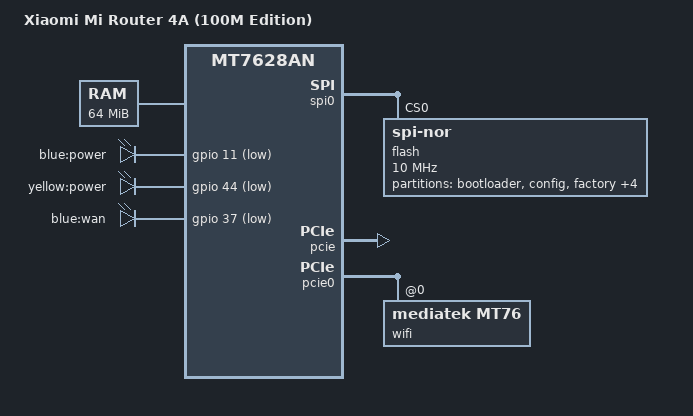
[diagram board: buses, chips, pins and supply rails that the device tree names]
// SPDX-License-Identifier: GPL-2.0-or-later OR MIT

#include "mt7628an_xiaomi_mi-router-4.dtsi"

/ {
	compatible = "xiaomi,mi-router-4a-100m", "mediatek,mt7628an-soc";
	model = "Xiaomi Mi Router 4A (100M Edition)";

	chosen {
		bootargs = "console=ttyS0,115200";
	};

	memory@0 {
		device_type = "memory";
		reg = <0x0 0x4000000>;
	};

	aliases {
		led-boot = &led_power_yellow;
		led-failsafe = &led_power_yellow;
		led-running = &led_power_blue;
		led-upgrade = &led_power_yellow;
		label-mac-device = &ethernet;
	};

	leds {
		compatible = "gpio-leds";

		led_power_blue: power_blue {
			label = "blue:power";
			gpios = <&gpio 11 GPIO_ACTIVE_LOW>;
		};

		led_power_yellow: power_yellow {
			label = "yellow:power";
			gpios = <&gpio 44 GPIO_ACTIVE_LOW>;
		};

		wan {
			label = "blue:wan";
			gpios = <&gpio 37 GPIO_ACTIVE_LOW>;
		};
	};

};

&spi0 {
	status = "okay";

	flash@0 {
		compatible = "jedec,spi-nor";
		reg = <0>;
		spi-max-frequency = <10000000>;

		partitions {
			compatible = "fixed-partitions";
			#address-cells = <1>;
			#size-cells = <1>;

			partition@0 {
				label = "bootloader";
				reg = <0x0 0x20000>;
				read-only;
			};

			partition@20000 {
				label = "config";
				reg = <0x20000 0x10000>;
				read-only;
			};

			factory: partition@30000 {
				label = "factory";
				reg = <0x30000 0x10000>;
				read-only;
			};

			partition@40000 {
				label = "crash";
				reg = <0x40000 0x10000>;
				read-only;
			};

			partition@50000 {
				label = "cfg_bak";
				reg = <0x50000 0x10000>;
				read-only;
			};

			partition@60000 {
				label = "overlay";
				reg = <0x60000 0x100000>;
				read-only;
			};

			partition@160000 {
				label = "firmware";
				reg = <0x160000 0xea0000>;
				compatible = "denx,uimage";
			};
		};
	};
};


&pcie {
	status = "okay";
};

&pcie0 {
	wifi@0,0 {
		compatible = "mediatek,mt76";
		reg = <0x0000 0 0 0 0>;
		nvmem-cells = <&eeprom_factory_8000>;
		nvmem-cell-names = "eeprom";
		ieee80211-freq-limit = <5000000 6000000>;
	};
};

&ethernet {
	nvmem-cells = <&macaddr_factory_4>;
	nvmem-cell-names = "mac-address";
	mac-address-increment = <(-1)>;
};

&esw {
	mediatek,portmap = <0x3e>;
	mediatek,portdisable = <0x2a>;
};
